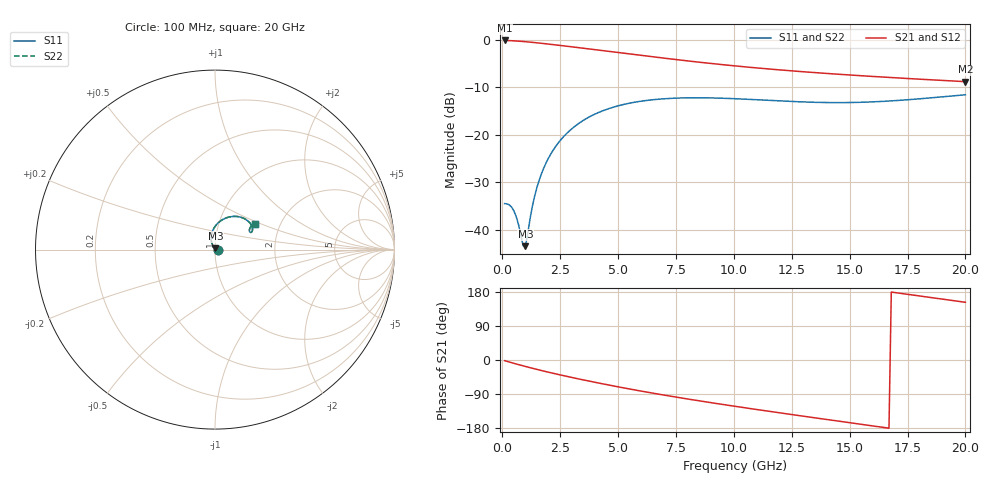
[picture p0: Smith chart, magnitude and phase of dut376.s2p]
! Touchstone file exported from HFSS 2024.1.0
!  File:  C:/UserFiles/LocalFiles/RDL_TSV_Batchsim/temp_RDL_TSV_376_1779644345.aedt
!  Generated:  01:48:05 AM May 25, 2026
!  Design:  RDL_TSV
!  Project:  temp_RDL_TSV_376_1779644345
!  Setup:  Setup1
!  Solution:  Sweep
! Variables:
!  dtsv = 14.16um
!  hbump = 3um
!  htsv = 58.5um
!  ldown = 691.63um
!  lrdl = 234.21um
!  p = 40
!  p1 = 41.36um
!  rhole = 10um
!  subl = 3011.73um
!  t = 450um
!  tdown = 3.11um
!  trdl = 3.31um
!  viad = 10um
!  wdown = 17.29um
!  wrdl = 19.84um
!  xbump = 18um
# GHz S MA R 50.000000
! Terminal data exported
! Port[1] = TM1_1_T1
! Port[2] = TM1_4_T1
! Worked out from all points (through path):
!   200 points, 100 MHz to 20 GHz, reference 50 ohm
!   highest |S21| = -0.17 dB at 100 MHz (marker M1); lowest = -8.8 dB at 20 GHz (marker M2)
!   group delay of S21, straight-line fit = 27.4 ps
!   lowest |S11| = -43.5 dB at 1 GHz (marker M3), VSWR 1.01, Z = 50.2 + j0.636 ohm
!   |S11| at or under -10 dB: start of sweep to end of sweep
!   |S22| runs from -43.5 to -11.6 dB; largest |S21 - S12| = 9.2e-15
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0.1  0.01874 1.3  0.9807 -1.8  0.9807 -1.8  0.01874 1.3
! Gamma 0 0 0 0
! Port Impedance 50 0 50 0
0.3  0.01819 2.1  0.977 -5.4  0.977 -5.4  0.01819 2.1
0.5  0.01573 2.0  0.9714 -8.8  0.9714 -8.8  0.01573 2.1
0.7  0.01129 7.4  0.9644 -12.2  0.9644 -12.2  0.01129 7.5
0.9  0.006753 38.2  0.9562 -15.5  0.9562 -15.5  0.006754 38.5
1  0.006678 71.6  0.9516 -17.1  0.9516 -17.1  0.006699 71.9
1.2  0.013 109.4  0.9419 -20.3  0.9419 -20.3  0.01306 109.5
1.4  0.02265 117.0  0.9315 -23.4  0.9315 -23.4  0.02275 117.0
1.6  0.0335 117.1  0.9206 -26.4  0.9206 -26.4  0.03363 117.1
1.9  0.05085 113.4  0.9036 -30.9  0.9036 -30.9  0.05103 113.4
2.2  0.06873 108.3  0.8864 -35.2  0.8864 -35.2  0.06894 108.3
2.6  0.09239 101.2  0.8634 -40.7  0.8634 -40.7  0.09265 101.2
3.5  0.1412 86.0  0.8127 -52.6  0.8127 -52.6  0.1415 86.0
4.2  0.1727 75.6  0.7745 -61.3  0.7745 -61.3  0.1731 75.6
4.9  0.1978 66.5  0.7376 -69.7  0.7376 -69.7  0.1982 66.5
6.8  0.2365 47.3  0.6465 -90.7  0.6465 -90.7  0.2371 47.3
8.4  0.2443 36.3  0.5825 -106.7  0.5825 -106.7  0.2449 36.3
10.1  0.2385 29.0  0.5276 -122.7  0.5276 -122.7  0.2392 29.0
11.7  0.2282 25.9  0.4865 -137.0  0.4865 -137.0  0.2288 25.9
13.4  0.2192 26.0  0.4514 -151.8  0.4514 -151.8  0.2197 25.9
16.7  0.2257 31.2  0.4 -179.9  0.4 -179.9  0.2261 31.1
20  0.2626 33.0  0.3611 152.3  0.3611 152.3  0.2627 32.9
